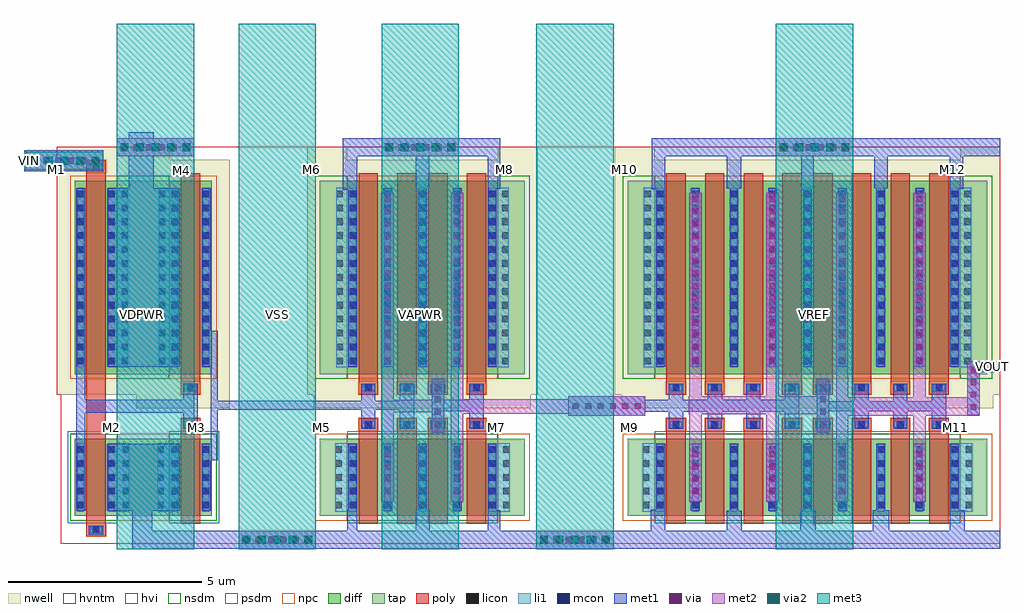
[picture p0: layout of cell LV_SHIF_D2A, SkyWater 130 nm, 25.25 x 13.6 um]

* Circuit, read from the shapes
.subckt LV_SHIF_D2A VAPWR VDPWR VIN VOUT VREF VSS
XM1 VSS VIN n1 VSS sky130_fd_pr__nfet_g5v0d10v5 w=2 l=0.5
XM2 n2 n1 VSS VSS sky130_fd_pr__nfet_g5v0d10v5 w=2 l=0.5
XM3 n3 n2 VSS VSS sky130_fd_pr__nfet_g5v0d10v5 w=2 l=0.5 m=2
XM4 n4 n3 VSS VSS sky130_fd_pr__nfet_g5v0d10v5 w=2 l=0.5 m=2
XM5 n5 n4 VSS VSS sky130_fd_pr__nfet_g5v0d10v5 w=2 l=0.5 m=4
XM6 VOUT n5 VSS VSS sky130_fd_pr__nfet_g5v0d10v5 w=2 l=0.5 m=4
XM7 VDPWR VIN n1 VDPWR sky130_fd_pr__pfet_g5v0d10v5 w=5 l=0.5
XM8 n2 n1 VDPWR VDPWR sky130_fd_pr__pfet_g5v0d10v5 w=5 l=0.5
XM9 n3 n2 VAPWR VAPWR sky130_fd_pr__pfet_g5v0d10v5 w=5 l=0.5 m=2
XM10 n4 n3 VAPWR VAPWR sky130_fd_pr__pfet_g5v0d10v5 w=5 l=0.5 m=2
XM11 n5 n4 VREF VREF sky130_fd_pr__pfet_g5v0d10v5 w=5 l=0.5 m=4
XM12 VOUT n5 VREF VREF sky130_fd_pr__pfet_g5v0d10v5 w=5 l=0.5 m=4
.ends

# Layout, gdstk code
from math import pi, radians
import gdstk
lib = gdstk.Library(unit=1e-6, precision=1e-09)
def R(c, l, rs):  # rectangles x0, y0, x1, y1
    for r in rs: c.add(gdstk.rectangle(r[:2], r[2:], *l))
def A(c, l, x, y, w, h, nx, ny, dx, dy):  # array of equal rectangles
    R(c, l, [(x+i*dx, y+j*dy, x+i*dx+w, y+j*dy+h) for i in range(nx) for j in range(ny)])
nwell = (64, 20)
diff = (65, 20)
tap = (65, 44)
poly = (66, 20)
licon = (66, 44)
li1 = (67, 20)
mcon = (67, 44)
met1 = (68, 20)
via = (68, 44)
met2 = (69, 20)
via2 = (69, 44)
met3 = (70, 20)
hvi = (75, 20)
nsdm = (93, 44)
psdm = (94, 20)
npc = (95, 20)
hvntm = (125, 20)

vias_gen_5 = lib.new_cell('vias_gen$5')
R(vias_gen_5, met1, [(0,0,2,0.5)])
A(vias_gen_5, via, 0.125, 0.175, 0.15, 0.15, 6, 1, 0.32, 0)
R(vias_gen_5, met2, [(0,0,2,0.5)])

vias_gen_4 = lib.new_cell('vias_gen$4')
R(vias_gen_4, met1, [(0,0,0.32,4.5)])
A(vias_gen_4, via, 0.085, 0.095, 0.15, 0.15, 1, 14, 0, 0.32)
R(vias_gen_4, met2, [(0,0,0.32,4.5)])

vias_gen_6 = lib.new_cell('vias_gen$6')
R(vias_gen_6, met1, [(0,0,0.32,1.4)])
A(vias_gen_6, via, 0.085, 0.145, 0.15, 0.15, 1, 4, 0, 0.32)
R(vias_gen_6, met2, [(0,0,0.32,1.4)])

vias_gen = lib.new_cell('vias_gen')
R(vias_gen, met1, [(0,0,0.32,1.5)])
A(vias_gen, via, 0.085, 0.195, 0.15, 0.15, 1, 4, 0, 0.32)
R(vias_gen, met2, [(0,0,0.32,1.5)])

vias_gen_10 = lib.new_cell('vias_gen$10')
R(vias_gen_10, met1, [(0,0,2,0.465)])
A(vias_gen_10, via, 0.125, 0.16, 0.15, 0.15, 6, 1, 0.32, 0)
R(vias_gen_10, met2, [(0,0,2,0.465)])
A(vias_gen_10, via2, 0.1, 0.135, 0.2, 0.2, 5, 1, 0.4, 0)
R(vias_gen_10, met3, [(0,0,2,0.465)])

vias_gen_11 = lib.new_cell('vias_gen$11')
R(vias_gen_11, met1, [(0,0,2,0.47)])
A(vias_gen_11, via, 0.125, 0.16, 0.15, 0.15, 6, 1, 0.32, 0)
R(vias_gen_11, met2, [(0,0,2,0.47)])
A(vias_gen_11, via2, 0.1, 0.135, 0.2, 0.2, 5, 1, 0.4, 0)
R(vias_gen_11, met3, [(0,0,2,0.47)])

nfet_11 = lib.new_cell('nfet$11')
R(nfet_11, diff, [(0,0,1.1,2)])
R(nfet_11, tap, [(1.1,0,1.55,2)])
R(nfet_11, poly, [(0.3,-0.2,0.8,2.2), (0.3,2.2,0.8,2.53)])
A(nfet_11, licon, 0.065, 0.195, 0.17, 0.17, 1, 5, 0, 0.36)
A(nfet_11, licon, 0.865, 0.195, 0.17, 0.17, 1, 5, 0, 0.36)
A(nfet_11, licon, 1.24, 0.195, 0.17, 0.17, 1, 5, 0, 0.36)
R(nfet_11, licon, [(0.465,2.28,0.635,2.45)])
R(nfet_11, li1, [(0.065,0.115,0.235,1.885), (0.865,0.115,1.035,1.885), (1.24,0.115,1.41,1.885), (0.385,2.28,0.715,2.45)])
A(nfet_11, mcon, 0.065, 0.195, 0.17, 0.17, 1, 5, 0, 0.36)
A(nfet_11, mcon, 0.865, 0.195, 0.17, 0.17, 1, 5, 0, 0.36)
R(nfet_11, mcon, [(0.465,2.28,0.635,2.45)])
R(nfet_11, met1, [(0.035,0.135,0.265,1.865), (0.835,0.135,1.065,1.865), (0.365,2.25,0.735,2.48)])
R(nfet_11, hvi, [(-0.37,-0.385,1.86,2.725)])
R(nfet_11, nsdm, [(-0.125,-0.125,1.1,2.125)])
R(nfet_11, psdm, [(1.1,-0.125,1.675,2.125)])
R(nfet_11, npc, [(0.29,2.19,0.81,2.54)])
R(nfet_11, hvntm, [(-0.185,-0.185,1.1,2.185)])

nfet_8 = lib.new_cell('nfet$8')
R(nfet_8, diff, [(0,0,2.1,2)])
R(nfet_8, tap, [(2.1,0,2.55,2)])
R(nfet_8, poly, [(0.3,-0.2,0.8,2.2), (1.3,-0.2,1.8,2.2), (0.3,2.2,0.8,2.53), (1.3,2.2,1.8,2.53)])
A(nfet_8, licon, 0.065, 0.195, 0.17, 0.17, 3, 5, 0.9, 0.36)
A(nfet_8, licon, 2.24, 0.195, 0.17, 0.17, 1, 5, 0, 0.36)
R(nfet_8, licon, [(0.465,2.28,0.635,2.45), (1.465,2.28,1.635,2.45)])
A(nfet_8, li1, 0.065, 0.115, 0.17, 1.77, 3, 1, 0.9, 0)
R(nfet_8, li1, [(2.24,0.115,2.41,1.885), (0.385,2.28,0.715,2.45), (1.385,2.28,1.715,2.45)])
A(nfet_8, mcon, 0.065, 0.195, 0.17, 0.17, 3, 5, 0.9, 0.36)
R(nfet_8, mcon, [(0.465,2.28,0.635,2.45), (1.465,2.28,1.635,2.45)])
A(nfet_8, met1, 0.035, 0.135, 0.23, 1.73, 3, 1, 0.9, 0)
R(nfet_8, met1, [(0.365,2.25,0.735,2.48), (1.365,2.25,1.735,2.48)])
R(nfet_8, hvi, [(-0.37,-0.385,2.86,2.725)])
R(nfet_8, nsdm, [(-0.125,-0.125,2.1,2.125)])
R(nfet_8, psdm, [(2.1,-0.125,2.675,2.125)])
R(nfet_8, npc, [(0.29,2.19,0.81,2.54), (1.29,2.19,1.81,2.54)])
R(nfet_8, hvntm, [(-0.185,-0.185,2.1,2.185)])

pfet_12 = lib.new_cell('pfet$12')
R(pfet_12, nwell, [(-0.465,-0.88,2.955,5.54)])
R(pfet_12, diff, [(0,0,2.1,5)])
R(pfet_12, tap, [(2.1,0,2.49,5)])
R(pfet_12, poly, [(0.3,-0.53,0.8,-0.2), (1.3,-0.53,1.8,-0.2), (0.3,-0.2,0.8,5.2), (1.3,-0.2,1.8,5.2)])
A(pfet_12, licon, 0.065, 0.255, 0.17, 0.17, 3, 13, 0.9, 0.36)
A(pfet_12, licon, 2.21, 0.255, 0.17, 0.17, 1, 13, 0, 0.36)
R(pfet_12, licon, [(0.465,-0.45,0.635,-0.28), (1.465,-0.45,1.635,-0.28)])
A(pfet_12, li1, 0.065, 0.175, 0.17, 4.65, 3, 1, 0.9, 0)
R(pfet_12, li1, [(0.385,-0.45,0.715,-0.28), (1.385,-0.45,1.715,-0.28), (2.21,0.175,2.38,4.825)])
A(pfet_12, mcon, 0.065, 0.255, 0.17, 0.17, 3, 13, 0.9, 0.36)
R(pfet_12, mcon, [(0.465,-0.45,0.635,-0.28), (1.465,-0.45,1.635,-0.28)])
A(pfet_12, met1, 0.035, 0.195, 0.23, 4.61, 3, 1, 0.9, 0)
R(pfet_12, met1, [(0.365,-0.48,0.735,-0.25), (1.365,-0.48,1.735,-0.25)])
R(pfet_12, hvi, [(-0.465,-0.88,2.955,5.54)])
R(pfet_12, nsdm, [(2.1,-0.125,2.615,5.125)])
R(pfet_12, psdm, [(-0.125,-0.125,2.1,5.125)])
R(pfet_12, npc, [(0.29,-0.54,0.81,-0.19), (1.29,-0.54,1.81,-0.19)])

nfet_9 = lib.new_cell('nfet$9')
R(nfet_9, diff, [(0,0,4.1,2)])
R(nfet_9, tap, [(4.1,0,4.55,2)])
A(nfet_9, poly, 0.3, -0.2, 0.5, 2.4, 4, 1, 1, 0)
A(nfet_9, poly, 0.3, 2.2, 0.5, 0.33, 4, 1, 1, 0)
A(nfet_9, licon, 0.065, 0.195, 0.17, 0.17, 1, 5, 0, 0.36)
A(nfet_9, licon, 0.965, 0.195, 0.17, 0.17, 3, 5, 1, 0.36)
A(nfet_9, licon, 3.865, 0.195, 0.17, 0.17, 1, 5, 0, 0.36)
A(nfet_9, licon, 4.24, 0.195, 0.17, 0.17, 1, 5, 0, 0.36)
A(nfet_9, licon, 0.465, 2.28, 0.17, 0.17, 4, 1, 1, 0)
A(nfet_9, li1, 0.965, 0.115, 0.17, 1.77, 3, 1, 1, 0)
A(nfet_9, li1, 0.385, 2.28, 0.33, 0.17, 4, 1, 1, 0)
R(nfet_9, li1, [(0.065,0.115,0.235,1.885), (3.865,0.115,4.035,1.885), (4.24,0.115,4.41,1.885)])
A(nfet_9, mcon, 0.065, 0.195, 0.17, 0.17, 1, 5, 0, 0.36)
A(nfet_9, mcon, 0.965, 0.195, 0.17, 0.17, 3, 5, 1, 0.36)
A(nfet_9, mcon, 3.865, 0.195, 0.17, 0.17, 1, 5, 0, 0.36)
A(nfet_9, mcon, 0.465, 2.28, 0.17, 0.17, 4, 1, 1, 0)
A(nfet_9, met1, 0.935, 0.135, 0.23, 1.73, 3, 1, 1, 0)
A(nfet_9, met1, 0.365, 2.25, 0.37, 0.23, 4, 1, 1, 0)
R(nfet_9, met1, [(0.035,0.135,0.265,1.865), (3.835,0.135,4.065,1.865)])
R(nfet_9, hvi, [(-0.37,-0.385,4.86,2.725)])
R(nfet_9, nsdm, [(-0.125,-0.125,4.1,2.125)])
R(nfet_9, psdm, [(4.1,-0.125,4.675,2.125)])
A(nfet_9, npc, 0.29, 2.19, 0.52, 0.35, 4, 1, 1, 0)
R(nfet_9, hvntm, [(-0.185,-0.185,4.1,2.185)])

pfet_1 = lib.new_cell('pfet$1')
R(pfet_1, nwell, [(-0.465,-0.88,4.955,5.54)])
R(pfet_1, diff, [(0,0,4.1,5)])
R(pfet_1, tap, [(4.1,0,4.49,5)])
A(pfet_1, poly, 0.3, -0.53, 0.5, 0.33, 4, 1, 1, 0)
A(pfet_1, poly, 0.3, -0.2, 0.5, 5.4, 4, 1, 1, 0)
A(pfet_1, licon, 0.465, -0.45, 0.17, 0.17, 4, 1, 1, 0)
A(pfet_1, licon, 0.065, 0.255, 0.17, 0.17, 1, 13, 0, 0.36)
A(pfet_1, licon, 0.965, 0.255, 0.17, 0.17, 3, 13, 1, 0.36)
A(pfet_1, licon, 3.865, 0.255, 0.17, 0.17, 1, 13, 0, 0.36)
A(pfet_1, licon, 4.21, 0.255, 0.17, 0.17, 1, 13, 0, 0.36)
A(pfet_1, li1, 0.385, -0.45, 0.33, 0.17, 4, 1, 1, 0)
A(pfet_1, li1, 0.965, 0.175, 0.17, 4.65, 3, 1, 1, 0)
R(pfet_1, li1, [(0.065,0.175,0.235,4.825), (3.865,0.175,4.035,4.825), (4.21,0.175,4.38,4.825)])
A(pfet_1, mcon, 0.465, -0.45, 0.17, 0.17, 4, 1, 1, 0)
A(pfet_1, mcon, 0.065, 0.255, 0.17, 0.17, 1, 13, 0, 0.36)
A(pfet_1, mcon, 0.965, 0.255, 0.17, 0.17, 3, 13, 1, 0.36)
A(pfet_1, mcon, 3.865, 0.255, 0.17, 0.17, 1, 13, 0, 0.36)
A(pfet_1, met1, 0.365, -0.48, 0.37, 0.23, 4, 1, 1, 0)
A(pfet_1, met1, 0.935, 0.195, 0.23, 4.61, 3, 1, 1, 0)
R(pfet_1, met1, [(0.035,0.195,0.265,4.805), (3.835,0.195,4.065,4.805)])
R(pfet_1, hvi, [(-0.465,-0.88,4.955,5.54)])
R(pfet_1, nsdm, [(4.1,-0.125,4.615,5.125)])
R(pfet_1, psdm, [(-0.125,-0.125,4.1,5.125)])
A(pfet_1, npc, 0.29, -0.54, 0.52, 0.35, 4, 1, 1, 0)

pfet_10 = lib.new_cell('pfet$10')
R(pfet_10, nwell, [(-0.465,-0.54,1.955,5.88)])
R(pfet_10, diff, [(0,0,1.1,5)])
R(pfet_10, tap, [(1.1,0,1.49,5)])
R(pfet_10, poly, [(0.3,-0.2,0.8,5.2), (0.3,5.2,0.8,5.53)])
A(pfet_10, licon, 0.065, 0.255, 0.17, 0.17, 1, 13, 0, 0.36)
A(pfet_10, licon, 0.865, 0.255, 0.17, 0.17, 1, 13, 0, 0.36)
A(pfet_10, licon, 1.21, 0.255, 0.17, 0.17, 1, 13, 0, 0.36)
R(pfet_10, licon, [(0.465,5.28,0.635,5.45)])
R(pfet_10, li1, [(0.065,0.175,0.235,4.825), (0.865,0.175,1.035,4.825), (1.21,0.175,1.38,4.825), (0.385,5.28,0.715,5.45)])
A(pfet_10, mcon, 0.065, 0.255, 0.17, 0.17, 1, 13, 0, 0.36)
A(pfet_10, mcon, 0.865, 0.255, 0.17, 0.17, 1, 13, 0, 0.36)
R(pfet_10, mcon, [(0.465,5.28,0.635,5.45)])
R(pfet_10, met1, [(0.035,0.195,0.265,4.805), (0.835,0.195,1.065,4.805), (0.365,5.25,0.735,5.48)])
R(pfet_10, hvi, [(-0.465,-0.54,1.955,5.88)])
R(pfet_10, nsdm, [(1.1,-0.125,1.615,5.125)])
R(pfet_10, psdm, [(-0.125,-0.125,1.1,5.125)])
R(pfet_10, npc, [(0.29,5.19,0.81,5.54)])

nfet = lib.new_cell('nfet')
R(nfet, diff, [(0,0,1.1,2)])
R(nfet, tap, [(1.1,0,1.55,2)])
R(nfet, poly, [(0.3,-0.53,0.8,-0.2), (0.3,-0.2,0.8,2.2)])
A(nfet, licon, 0.065, 0.195, 0.17, 0.17, 1, 5, 0, 0.36)
A(nfet, licon, 0.865, 0.195, 0.17, 0.17, 1, 5, 0, 0.36)
A(nfet, licon, 1.24, 0.195, 0.17, 0.17, 1, 5, 0, 0.36)
R(nfet, licon, [(0.465,-0.45,0.635,-0.28)])
R(nfet, li1, [(0.385,-0.45,0.715,-0.28), (0.065,0.115,0.235,1.885), (0.865,0.115,1.035,1.885), (1.24,0.115,1.41,1.885)])
A(nfet, mcon, 0.065, 0.195, 0.17, 0.17, 1, 5, 0, 0.36)
A(nfet, mcon, 0.865, 0.195, 0.17, 0.17, 1, 5, 0, 0.36)
R(nfet, mcon, [(0.465,-0.45,0.635,-0.28)])
R(nfet, met1, [(0.365,-0.48,0.735,-0.25), (0.035,0.135,0.265,1.865), (0.835,0.135,1.065,1.865)])
R(nfet, hvi, [(-0.37,-0.725,1.86,2.385)])
R(nfet, nsdm, [(-0.125,-0.125,1.1,2.125)])
R(nfet, psdm, [(1.1,-0.125,1.675,2.125)])
R(nfet, npc, [(0.29,-0.54,0.81,-0.19)])
R(nfet, hvntm, [(-0.185,-0.185,1.1,2.185)])

pfet = lib.new_cell('pfet')
R(pfet, nwell, [(-0.465,-0.88,1.955,5.54)])
R(pfet, diff, [(0,0,1.1,5)])
R(pfet, tap, [(1.1,0,1.49,5)])
R(pfet, poly, [(0.3,-0.53,0.8,-0.2), (0.3,-0.2,0.8,5.2)])
A(pfet, licon, 0.065, 0.255, 0.17, 0.17, 1, 13, 0, 0.36)
A(pfet, licon, 0.865, 0.255, 0.17, 0.17, 1, 13, 0, 0.36)
A(pfet, licon, 1.21, 0.255, 0.17, 0.17, 1, 13, 0, 0.36)
R(pfet, licon, [(0.465,-0.45,0.635,-0.28)])
R(pfet, li1, [(0.385,-0.45,0.715,-0.28), (0.065,0.175,0.235,4.825), (0.865,0.175,1.035,4.825), (1.21,0.175,1.38,4.825)])
A(pfet, mcon, 0.065, 0.255, 0.17, 0.17, 1, 13, 0, 0.36)
A(pfet, mcon, 0.865, 0.255, 0.17, 0.17, 1, 13, 0, 0.36)
R(pfet, mcon, [(0.465,-0.45,0.635,-0.28)])
R(pfet, met1, [(0.365,-0.48,0.735,-0.25), (0.035,0.195,0.265,4.805), (0.835,0.195,1.065,4.805)])
R(pfet, hvi, [(-0.465,-0.88,1.955,5.54)])
R(pfet, nsdm, [(1.1,-0.125,1.615,5.125)])
R(pfet, psdm, [(-0.125,-0.125,1.1,5.125)])
R(pfet, npc, [(0.29,-0.54,0.81,-0.19)])

lv_shif_d2a = lib.new_cell('LV_SHIF_D2A')
R(lv_shif_d2a, nwell, [(2.415,3.995,3.445,10.415), (2.73,3.995,3.76,10.415), (7.325,3.995,8.355,10.415), (12.255,3.995,13.285,10.415), (15.285,3.995,16.315,10.415), (24.215,3.995,25.245,10.415)])
R(lv_shif_d2a, tap, [(2.415,0.865,3.115,2.865), (3.06,0.865,3.76,2.865), (7.655,0.865,8.355,2.865), (12.255,0.865,12.955,2.865), (15.615,0.865,16.315,2.865), (24.215,0.865,24.915,2.865), (2.415,4.535,3.115,9.535), (3.06,4.535,3.76,9.535), (7.655,4.535,8.355,9.535), (12.255,4.535,12.955,9.535), (15.615,4.535,16.315,9.535), (24.215,4.535,24.915,9.535)])
R(lv_shif_d2a, poly, [(1.615,3.035,2.115,4.36)])
R(lv_shif_d2a, li1, [(2.18,0.98,2.725,2.75), (3.45,0.98,3.995,2.75), (8.045,0.98,8.59,2.75), (12.02,0.98,12.565,2.75), (16.005,0.98,16.55,2.75), (23.98,0.98,24.525,2.75), (2.18,4.71,2.695,9.36), (3.48,4.71,3.995,9.36), (8.075,4.71,8.59,9.36), (12.02,4.71,12.535,9.36), (16.035,4.71,16.55,9.36), (23.98,4.71,24.495,9.36)])
R(lv_shif_d2a, met1, [(2.805,0,3.32,1.07), (2.805,0.015,24.33,0.48), (24.33,0.015,25.245,0.48), (8.36,0.145,8.62,1.025), (10.13,0.145,10.495,1.01), (11.99,0.145,12.315,1.015), (18.175,0.33,18.57,1.005), (20.075,0.33,20.485,1.005), (21.955,0.33,22.375,1.015), (23.95,0.33,24.33,1.015), (16.21,0.365,16.58,1.02), (2.37,1,3.81,2.73), (4.825,2.31,5.015,5.65), (1.35,2.675,1.58,4.785), (8.72,3.31,9.09,4.09), (9.72,3.31,10.09,4.065), (4.125,3.32,4.495,4.08), (18.685,3.32,19.05,4.06), (11.52,3.325,11.89,4.07), (17.68,3.325,18.055,4.075), (19.68,3.325,20.05,4.07), (16.68,3.33,17.05,4.065), (21.48,3.33,21.85,4.075), (22.48,3.33,22.85,4.07), (23.48,3.33,23.85,4.06), (1.44,3.54,4.455,3.875), (15.97,3.56,20.025,3.865), (10.835,3.57,11.56,3.87), (20.78,3.57,23.82,3.835), (4.995,3.615,9.915,3.845), (24.4,4.585,25.245,4.865), (2.37,4.73,3.805,9.34), (2.715,9.24,3.35,10.785), (8.24,9.3,8.62,10.525), (16.24,9.31,16.58,10.485), (11.99,9.325,12.325,10.515), (20.11,9.325,20.425,10.49), (23.95,9.33,24.29,10.51), (18.175,9.335,18.555,10.505), (21.99,9.335,22.345,10.5), (10.13,9.34,10.48,10.5), (0,9.785,2.05,10.33), (2.4,10.165,4.4,10.63), (8.24,10.165,12.325,10.635), (16.24,10.165,24.29,10.635), (24.29,10.165,25.245,10.635), (8.24,10.27,12.325,10.525)])
R(lv_shif_d2a, met2, [(21.005,2.68,21.325,4.745), (17.205,2.695,17.525,4.76), (11.04,2.7,11.36,4.74), (19.205,2.705,19.525,4.745), (9.245,2.71,9.565,4.79), (23.005,2.72,23.325,4.74), (21.27,3.455,24.72,3.94), (17.2,3.5,20.71,3.965), (11.25,3.515,15.22,3.89), (9.245,3.545,10.86,3.875)])
R(lv_shif_d2a, met3, [(2.4,0,4.4,13.6), (5.55,0,7.55,13.6), (9.25,0,11.25,13.6), (13.25,0,15.25,13.6), (19.45,0,21.45,13.6), (0,9.82,2.05,10.29)])
R(lv_shif_d2a, hvi, [(0.945,0.14,25.245,10.415), (2.415,0.14,3.3,3.59), (2.875,0.14,3.76,3.59), (7.47,0.48,8.355,3.59), (12.255,0.48,13.14,3.59), (15.43,0.48,16.315,3.59), (24.215,0.48,25.1,3.59), (0.965,3.35,5.32,4.12), (2.415,3.995,3.445,10.415), (2.73,3.995,3.76,10.415), (7.325,3.995,8.355,10.415), (12.255,3.995,13.285,10.415), (15.285,3.995,16.315,10.415), (24.215,3.995,25.245,10.415)])
R(lv_shif_d2a, nsdm, [(2.415,4.41,3.24,9.66), (2.935,4.41,3.76,9.66), (7.53,4.41,8.355,9.66), (12.255,4.41,13.08,9.66), (15.49,4.41,16.315,9.66), (24.215,4.41,25.04,9.66)])
R(lv_shif_d2a, psdm, [(2.415,0.74,3.24,2.99), (2.935,0.74,3.76,2.99), (7.53,0.74,8.355,2.99), (12.255,0.74,13.08,2.99), (15.49,0.74,16.315,2.99), (24.215,0.74,25.04,2.99)])
lv_shif_d2a.add(gdstk.Reference(vias_gen_5, (14.075,3.46)))
lv_shif_d2a.add(gdstk.Reference(vias_gen_4, (9.245,4.73)))
lv_shif_d2a.add(gdstk.Reference(vias_gen_6, (10.545,3.02)))
lv_shif_d2a.add(gdstk.Reference(vias_gen_4, (11.04,4.73)))
lv_shif_d2a.add(gdstk.Reference(vias_gen, (11.04,2.73), x_reflection=True))
lv_shif_d2a.add(gdstk.Reference(vias_gen, (9.245,2.73), x_reflection=True))
lv_shif_d2a.add(gdstk.Reference(vias_gen_4, (17.205,4.73)))
lv_shif_d2a.add(gdstk.Reference(vias_gen_4, (19.205,4.73)))
lv_shif_d2a.add(gdstk.Reference(vias_gen_4, (21.005,4.73)))
lv_shif_d2a.add(gdstk.Reference(vias_gen_4, (23.005,4.73)))
lv_shif_d2a.add(gdstk.Reference(vias_gen, (17.205,1.23)))
lv_shif_d2a.add(gdstk.Reference(vias_gen, (19.205,1.23)))
lv_shif_d2a.add(gdstk.Reference(vias_gen, (21.005,1.23)))
lv_shif_d2a.add(gdstk.Reference(vias_gen, (23.005,1.23)))
lv_shif_d2a.add(gdstk.Reference(vias_gen_6, (20.505,3.02)))
lv_shif_d2a.add(gdstk.Reference(vias_gen_6, (24.4,3.465)))
lv_shif_d2a.add(gdstk.Reference(vias_gen_10, (2.4,10.165)))
lv_shif_d2a.add(gdstk.Reference(vias_gen_10, (9.25,10.165)))
lv_shif_d2a.add(gdstk.Reference(vias_gen_10, (19.45,10.165)))
lv_shif_d2a.add(gdstk.Reference(vias_gen_10, (5.55,0.015)))
lv_shif_d2a.add(gdstk.Reference(vias_gen_10, (13.25,0.015)))
lv_shif_d2a.add(gdstk.Reference(vias_gen_11, (0.05,9.82)))
lv_shif_d2a.add(gdstk.Reference(nfet_11, (4.86,0.865), rotation=pi, x_reflection=True))
lv_shif_d2a.add(gdstk.Reference(nfet_8, (10.455,0.865), rotation=pi, x_reflection=True))
lv_shif_d2a.add(gdstk.Reference(nfet_8, (10.155,0.865)))
lv_shif_d2a.add(gdstk.Reference(pfet_12, (10.155,4.535)))
lv_shif_d2a.add(gdstk.Reference(nfet_9, (20.415,0.865), rotation=pi, x_reflection=True))
lv_shif_d2a.add(gdstk.Reference(pfet_1, (20.415,4.535), rotation=pi, x_reflection=True))
lv_shif_d2a.add(gdstk.Reference(nfet_9, (20.115,0.865)))
lv_shif_d2a.add(gdstk.Reference(pfet_1, (20.115,4.535)))
lv_shif_d2a.add(gdstk.Reference(pfet_10, (1.315,4.535)))
lv_shif_d2a.add(gdstk.Reference(nfet, (1.315,0.865)))
lv_shif_d2a.add(gdstk.Reference(pfet_12, (10.455,4.535), rotation=pi, x_reflection=True))
lv_shif_d2a.add(gdstk.Reference(pfet, (4.86,4.535), rotation=pi, x_reflection=True))
lv_shif_d2a.add(gdstk.Label('M5', (7.695,3.165), layer=255, texttype=0))
lv_shif_d2a.add(gdstk.Label('M6', (7.445,9.835), layer=255, texttype=0))
lv_shif_d2a.add(gdstk.Label('M7', (12.22,3.165), layer=255, texttype=0))
lv_shif_d2a.add(gdstk.Label('M8', (12.42,9.835), layer=255, texttype=0))
lv_shif_d2a.add(gdstk.Label('M9', (15.665,3.165), layer=255, texttype=0))
lv_shif_d2a.add(gdstk.Label('M10', (15.525,9.835), layer=255, texttype=0))
lv_shif_d2a.add(gdstk.Label('M11', (24.105,3.165), layer=255, texttype=0))
lv_shif_d2a.add(gdstk.Label('M12', (24.01,9.835), layer=255, texttype=0))
lv_shif_d2a.add(gdstk.Label('M4', (4.08,9.8), layer=255, texttype=0))
lv_shif_d2a.add(gdstk.Label('M1', (0.845,9.835), layer=255, texttype=0))
lv_shif_d2a.add(gdstk.Label('M3', (4.455,3.165), layer=255, texttype=0))
lv_shif_d2a.add(gdstk.Label('M2', (2.263,3.165), layer=255, texttype=0))
lv_shif_d2a.add(gdstk.Label('VOUT', (25.05,4.725), layer=68, texttype=5))
lv_shif_d2a.add(gdstk.Label('VDPWR', (3.05,6.08), layer=70, texttype=5))
lv_shif_d2a.add(gdstk.Label('VAPWR', (10.25,6.08), layer=70, texttype=5))
lv_shif_d2a.add(gdstk.Label('VREF', (20.45,6.08), layer=70, texttype=5))
lv_shif_d2a.add(gdstk.Label('VSS', (6.55,6.08), layer=70, texttype=5))
lv_shif_d2a.add(gdstk.Label('VIN', (0.15,10.05), layer=70, texttype=5))

lib.write_gds('LV_SHIF_D2A.gds')
